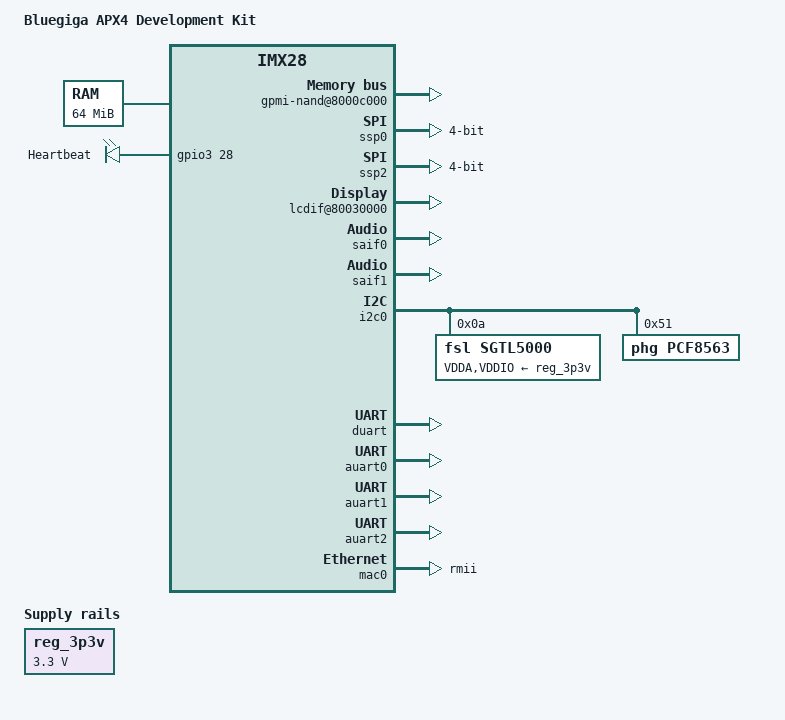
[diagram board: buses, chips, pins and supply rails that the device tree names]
/dts-v1/;
#include "imx28.dtsi"

/ {
	model = "Bluegiga APX4 Development Kit";
	compatible = "bluegiga,apx4devkit", "fsl,imx28";

	memory {
		reg = <0x40000000 0x04000000>;
	};

	apb@80000000 {
		apbh@80000000 {
			gpmi-nand@8000c000 {
				pinctrl-names = "default";
				pinctrl-0 = <&gpmi_pins_a &gpmi_status_cfg>;
				status = "okay";
			};

			ssp0: ssp@80010000 {
				compatible = "fsl,imx28-mmc";
				pinctrl-names = "default";
				pinctrl-0 = <&mmc0_4bit_pins_a &mmc0_sck_cfg>;
				bus-width = <4>;
				status = "okay";
			};

			ssp2: ssp@80014000 {
				compatible = "fsl,imx28-mmc";
				pinctrl-names = "default";
				pinctrl-0 = <&mmc2_4bit_pins_apx4 &mmc2_sck_cfg_apx4>;
				bus-width = <4>;
				status = "okay";
			};

			pinctrl@80018000 {
				pinctrl-names = "default";
				pinctrl-0 = <&hog_pins_a>;

				hog_pins_a: hog@0 {
					reg = <0>;
					fsl,pinmux-ids = <
						MX28_PAD_GPMI_CE1N__GPIO_0_17
						MX28_PAD_GPMI_RDY1__GPIO_0_21
						MX28_PAD_SSP2_MISO__GPIO_2_18
						MX28_PAD_SSP2_SS0__AUART3_TX /* was: 0x2131 - MX28_PAD_SSP2_SS0__GPIO_2_19 */
						MX28_PAD_PWM3__GPIO_3_28
						MX28_PAD_LCD_RESET__GPIO_3_30
						MX28_PAD_JTAG_RTCK__GPIO_4_20
					>;
					fsl,drive-strength = <MXS_DRIVE_4mA>;
					fsl,voltage = <MXS_VOLTAGE_HIGH>;
					fsl,pull-up = <MXS_PULL_DISABLE>;
				};

				lcdif_pins_apx4: lcdif-apx4@0 {
					reg = <0>;
					fsl,pinmux-ids = <
						MX28_PAD_LCD_RD_E__LCD_VSYNC
						MX28_PAD_LCD_WR_RWN__LCD_HSYNC
						MX28_PAD_LCD_RS__LCD_DOTCLK
						MX28_PAD_LCD_CS__LCD_ENABLE
					>;
					fsl,drive-strength = <MXS_DRIVE_4mA>;
					fsl,voltage = <MXS_VOLTAGE_HIGH>;
					fsl,pull-up = <MXS_PULL_DISABLE>;
				};

				mmc2_4bit_pins_apx4: mmc2-4bit-apx4@0 {
					reg = <0>;
					fsl,pinmux-ids = <
						MX28_PAD_SSP0_DATA4__SSP2_D0
						MX28_PAD_SSP0_DATA5__SSP2_D3
						MX28_PAD_SSP0_DATA6__SSP2_CMD
						MX28_PAD_SSP0_DATA7__SSP2_SCK
						MX28_PAD_SSP2_SS1__SSP2_D1
						MX28_PAD_SSP2_SS2__SSP2_D2
					>;
					fsl,drive-strength = <MXS_DRIVE_8mA>;
					fsl,voltage = <MXS_VOLTAGE_HIGH>;
					fsl,pull-up = <MXS_PULL_ENABLE>;
				};

				mmc2_sck_cfg_apx4: mmc2-sck-cfg-apx4 {
					fsl,pinmux-ids = <
						MX28_PAD_SSP0_DATA7__SSP2_SCK
					>;
					fsl,drive-strength = <MXS_DRIVE_12mA>;
					fsl,pull-up = <MXS_PULL_DISABLE>;
				};
			};

			lcdif@80030000 {
				pinctrl-names = "default";
				pinctrl-0 = <&lcdif_24bit_pins_a
					     &lcdif_pins_apx4>;
				display = <&display>;
				status = "okay";

				display: display {
					bits-per-pixel = <32>;
					bus-width = <24>;

					display-timings {
						native-mode = <&timing0>;
						timing0: timing0 {
							clock-frequency = <30000000>;
							hactive = <800>;
							vactive = <480>;
							hback-porch = <88>;
							hfront-porch = <40>;
							vback-porch = <32>;
							vfront-porch = <13>;
							hsync-len = <48>;
							vsync-len = <3>;
							hsync-active = <1>;
							vsync-active = <1>;
							de-active = <1>;
							pixelclk-active = <0>;
						};
					};
				};
			};
		};

		apbx@80040000 {
			saif0: saif@80042000 {
				pinctrl-names = "default";
				pinctrl-0 = <&saif0_pins_a>;
				status = "okay";
			};

			saif1: saif@80046000 {
				pinctrl-names = "default";
				pinctrl-0 = <&saif1_pins_a>;
				fsl,saif-master = <&saif0>;
				status = "okay";
			};

			i2c0: i2c@80058000 {
				pinctrl-names = "default";
				pinctrl-0 = <&i2c0_pins_a>;
				status = "okay";

				sgtl5000: codec@0a {
					compatible = "fsl,sgtl5000";
					reg = <0x0a>;
					VDDA-supply = <&reg_3p3v>;
					VDDIO-supply = <&reg_3p3v>;
					clocks = <&saif0>;
				};

				pcf8563: rtc@51 {
					compatible = "phg,pcf8563";
					reg = <0x51>;
				};
			};

			duart: serial@80074000 {
				pinctrl-names = "default";
				pinctrl-0 = <&duart_pins_a>;
				status = "okay";
			};

			auart0: serial@8006a000 {
				pinctrl-names = "default";
				pinctrl-0 = <&auart0_pins_a>;
				status = "okay";
			};

			auart1: serial@8006c000 {
				pinctrl-names = "default";
				pinctrl-0 = <&auart1_2pins_a>;
				status = "okay";
			};

			auart2: serial@8006e000 {
				pinctrl-names = "default";
				pinctrl-0 = <&auart2_2pins_a>;
				status = "okay";
			};
		};
	};

	ahb@80080000 {
		mac0: ethernet@800f0000 {
			phy-mode = "rmii";
			pinctrl-names = "default";
			pinctrl-0 = <&mac0_pins_a>;
			status = "okay";
		};
	};

	regulators {
		compatible = "simple-bus";
		#address-cells = <1>;
		#size-cells = <0>;

		reg_3p3v: regulator@0 {
			compatible = "regulator-fixed";
			reg = <0>;
			regulator-name = "3P3V";
			regulator-min-microvolt = <3300000>;
			regulator-max-microvolt = <3300000>;
			regulator-always-on;
		};
	};

	sound {
		compatible = "bluegiga,apx4devkit-sgtl5000",
			     "fsl,mxs-audio-sgtl5000";
		model = "apx4devkit-sgtl5000";
		saif-controllers = <&saif0 &saif1>;
		audio-codec = <&sgtl5000>;
	};

	leds {
		compatible = "gpio-leds";

		user {
			label = "Heartbeat";
			gpios = <&gpio3 28 0>;
			linux,default-trigger = "heartbeat";
		};
	};
};
